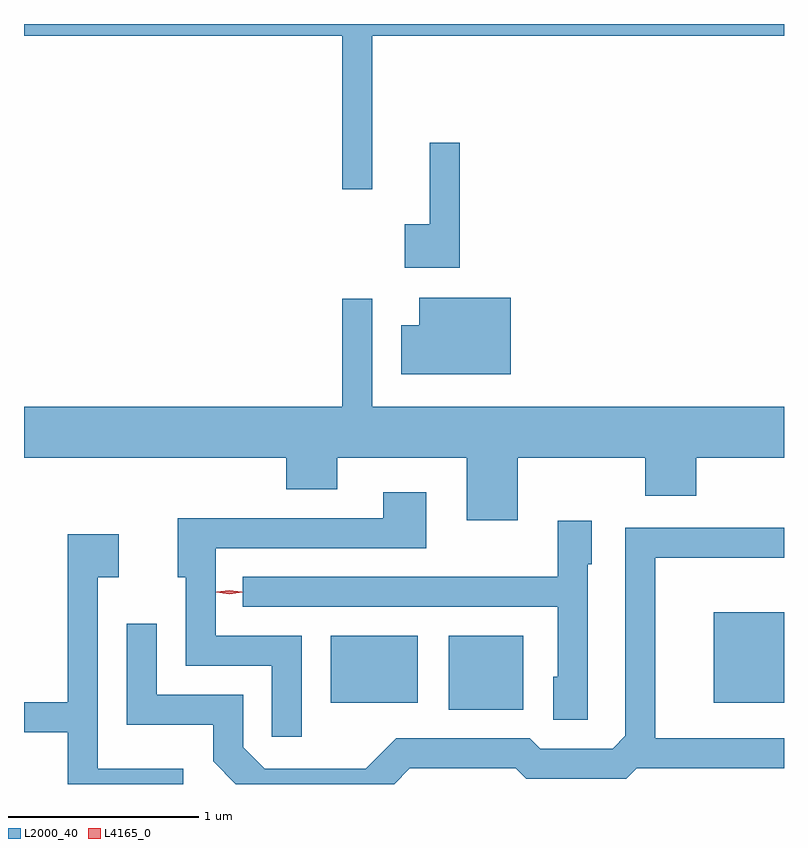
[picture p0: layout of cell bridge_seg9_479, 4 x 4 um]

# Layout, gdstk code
import gdstk
lib = gdstk.Library(unit=1e-6, precision=1e-09)
def R(c, l, rs):  # rectangles x0, y0, x1, y1
    for r in rs: c.add(gdstk.rectangle(r[:2], r[2:], *l))
def P(c, l, *ps):  # polygons
    for p in ps: c.add(gdstk.Polygon(p, *l))
L2000_40 = (2000, 40)
L4165_0 = (4165, 0)

bridge_seg9_479 = lib.new_cell('bridge_seg9_479')
R(bridge_seg9_479, L2000_40, [(591.836,1946.091,592.229,1946.479), (591.216,1946.126,591.674,1946.479), (593.231,1946.126,593.601,1946.604)])
P(bridge_seg9_479, L2000_40, [(589.601,1949.636),(591.276,1949.636),(591.276,1948.828),(591.434,1948.828),(591.434,1949.636),(593.601,1949.636),(593.601,1949.699),(589.601,1949.699)],
  [(591.894,1949.073),(591.736,1949.073),(591.736,1948.644),(591.606,1948.644),(591.606,1948.416),(591.894,1948.416)],
  [(592.164,1948.259),(591.681,1948.259),(591.681,1948.114),(591.586,1948.114),(591.586,1947.856),(592.164,1947.856)],
  [(591.434,1948.253),(591.276,1948.253),(591.276,1947.684),(589.601,1947.684),(589.601,1947.416),(590.981,1947.416),(590.981,1947.251),(591.249,1947.251),(591.249,1947.416),(591.931,1947.416),(591.931,1947.086),(592.199,1947.086),(592.199,1947.416),(592.871,1947.416),(592.871,1947.216),(593.139,1947.216),(593.139,1947.416),(593.601,1947.416),(593.601,1947.684),(591.434,1947.684)],
  [(591.064,1946.479),(590.609,1946.479),(590.609,1946.941),(591.719,1946.941),(591.719,1947.234),(591.491,1947.234),(591.491,1947.099),(590.411,1947.099),(590.411,1946.786),(590.451,1946.786),(590.451,1946.321),(590.906,1946.321),(590.906,1945.948),(591.064,1945.948)],
  [(592.569,1946.856),(592.589,1946.856),(592.589,1947.084),(592.411,1947.084),(592.411,1946.789),(590.753,1946.789),(590.753,1946.631),(592.411,1946.631),(592.411,1946.264),(592.386,1946.264),(592.386,1946.036),(592.569,1946.036)],
  [(591.632,1945.781),(592.189,1945.781),(592.244,1945.726),(592.772,1945.726),(592.827,1945.781),(593.601,1945.781),(593.601,1945.939),(592.924,1945.939),(592.924,1946.891),(593.601,1946.891),(593.601,1947.049),(592.766,1947.049),(592.766,1945.952),(592.699,1945.884),(592.317,1945.884),(592.262,1945.939),(591.559,1945.939),(591.399,1945.779),(590.867,1945.779),(590.754,1945.892),(590.754,1946.169),(590.299,1946.169),(590.299,1946.543),(590.141,1946.543),(590.141,1946.011),(590.596,1946.011),(590.596,1945.819),(590.716,1945.699),(591.55,1945.699)],
  [(590.438,1945.779),(589.989,1945.779),(589.989,1946.786),(590.099,1946.786),(590.099,1947.014),(589.831,1947.014),(589.831,1946.129),(589.601,1946.129),(589.601,1945.971),(589.831,1945.971),(589.831,1945.699),(590.438,1945.699)])
P(bridge_seg9_479, L4165_0, [(590.682,1946.698),(590.614,1946.708),(590.613,1946.708),(590.614,1946.709),(590.682,1946.718),(590.751,1946.709),(590.752,1946.708),(590.751,1946.708)],
  [(590.682,1946.699),(590.616,1946.709),(590.615,1946.709),(590.616,1946.71),(590.682,1946.72),(590.748,1946.71),(590.748,1946.709),(590.748,1946.709)])

lib.write_gds('bridge_seg9_479.gds')
